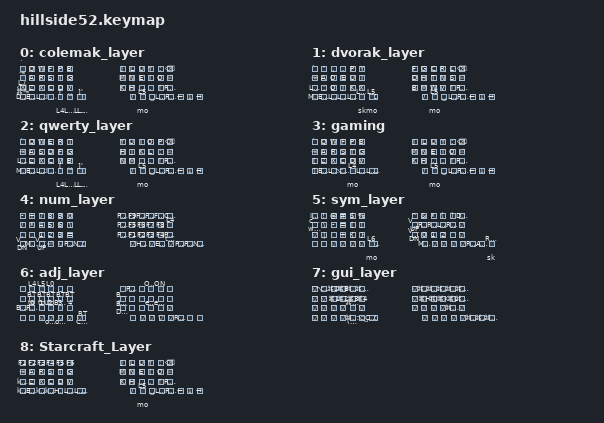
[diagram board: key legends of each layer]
/*
 * Copyright (c) 2021-2022 The ZMK Contributors
 *
 * SPDX-License-Identifier: MIT
 */

#include "../zmk-nodefree-config/helper.h"

// #include "../zmk-nodefree-config/international_chars/nordic.dtsi"

#include <behaviors.dtsi>
#include <dt-bindings/zmk/bt.h>
#include <dt-bindings/zmk/ext_power.h>
#include <dt-bindings/zmk/keys.h>
#include <dt-bindings/zmk/outputs.h>

#define COLEMK_L 0
#define QWERTY_L 1
#define DVORAK_L 2
#define NAV_L    3
#define SYM_L    4
#define ADJ_L    5
#define Undo   LC(Z)
#define Cut    LC(X)
#define Copy   LC(C)
#define Paste  LC(V)
#define Redo   LC(Y)

ZMK_UNICODE_PAIR(no_aa,   N0, N0, E,  N1,   N0, N0, C,  N1)
ZMK_UNICODE_PAIR(no_ea,   N0, N0, E,  N9,   N0, N0, C,  N9)
ZMK_UNICODE_PAIR(no_ia,   N0, N0, E,  D,    N0, N0, C,  D)
ZMK_UNICODE_PAIR(no_oa,   N0, N0, F,  N3,   N0, N0, D,  N3)
ZMK_UNICODE_PAIR(no_ua,   N0, N0, F,  A,    N0, N0, D,  A)
ZMK_UNICODE_PAIR(no_ya,   N0, N0, F,  D,    N0, N0, D,  D)
ZMK_UNICODE_PAIR(no_ae,   N0, N0, E,  N6,   N0, N0, C,  N6)
ZMK_UNICODE_PAIR(no_od,   N0, N0, F,  N6,   N0, N0, D,  N6)
ZMK_UNICODE_PAIR(no_ad,   N0, N0, E,  N4,   N0, N0, C,  N4)
ZMK_UNICODE_PAIR(no_thorn,  N0, N0, F,  E,  N0, N0, D,  E)
ZMK_UNICODE_PAIR(no_eth,  N0, N0, F,  N0,   N0, N0, D,  N0)
ZMK_UNICODE_PAIR(no_ao,   N0, N0, E,  N5,   N0, N0, C,  N5)

&mt {
    flavor = "hold-preferred";
    tapping-term-ms = <150>;
    require-prior-idle-ms = <125>;
};

/ {
    behaviors {
        hold_while_undecided: hold_while_undecided {
            compatible = "zmk,behavior-hold-tap";
            label = "HOLD_WHILE_UNDECIDED";
            bindings = <&kp>, <&kp>;

            #binding-cells = <2>;
            tapping-term-ms = <200>;
            require-prior-idle-ms = <125>;
            hold-while-undecided;
        };

        lt_chars: lt_chars {
            compatible = "zmk,behavior-hold-tap";
            label = "LT_CHARS";
            bindings = <&to>, <&kp>;

            #binding-cells = <2>;
            flavor = "tap-preferred";
            tapping-term-ms = <150>;
            require-prior-idle-ms = <150>;
            hold-trigger-key-positions = <0>;
        };
    };

    combos {
        compatible = "zmk,combos";

        ModplusLayer {
            bindings = <&mo 6>;
            key-positions = <44 45>;
        };

        thorn {
            bindings = <&no_thorn>;
            key-positions = <33 28>;
            require-prior-idle-ms = <200>;
        };

        eth {
            bindings = <&no_eth>;
            key-positions = <25 33>;
            require-prior-idle-ms = <200>;
        };

        aa {
            bindings = <&no_aa>;
            key-positions = <13 10>;
            require-prior-idle-ms = <200>;
        };

        ea {
            bindings = <&no_ea>;
            key-positions = <20 10>;
            require-prior-idle-ms = <200>;
        };

        ia {
            bindings = <&no_ia>;
            key-positions = <21 10>;
            require-prior-idle-ms = <200>;
        };

        oa {
            bindings = <&no_oa>;
            key-positions = <22 10>;
            require-prior-idle-ms = <200>;
        };

        ua {
            bindings = <&no_ua>;
            key-positions = <8 10>;
            require-prior-idle-ms = <200>;
        };

        ya {
            bindings = <&no_ya>;
            key-positions = <9 10>;
            require-prior-idle-ms = <200>;
        };

        ae {
            bindings = <&no_ae>;
            key-positions = <13 10>;
            require-prior-idle-ms = <200>;
        };

        od {
            bindings = <&no_od>;
            key-positions = <22 35>;
            require-prior-idle-ms = <200>;
        };

        ad {
            bindings = <&no_ad>;
            key-positions = <13 35>;
            require-prior-idle-ms = <200>;
        };

        ao {
            bindings = <&no_ao>;
            key-positions = <13 22>;
            require-prior-idle-ms = <200>;
        };

        to_gaming {
            bindings = <&to 3>;
            key-positions = <1 2 3 4>;
        };

        to_starcraft {
            bindings = <&to 8>;
            key-positions = <25 26 27 28>;
        };

        to_colemak {
            bindings = <&to 0>;
            key-positions = <13 14 15 16>;
        };

        power_toys_layout_1 {
            bindings = <&kp LG(LA(LC(N1)))>;
            key-positions = <40 41 19>;
        };

        power_toys_layout_2 {
            bindings = <&kp LA(LC(LG(N2)))>;
            key-positions = <40 41 20>;
        };

        power_toys_layout_3 {
            bindings = <&kp LA(LC(LG(N3)))>;
            key-positions = <40 41 21>;
        };

        power_toys_layout_4 {
            bindings = <&kp LA(LC(LG(N4)))>;
            key-positions = <40 41 22>;
        };
    };

    keymap {
        compatible = "zmk,keymap";

        colemak_layer {
            /* COLEMAK-DH
 * -------------------------------------------------------------------------------------------------------------------------------------
 * | `     |   Q   |   W   |   F   |   P   |   B   |-----------------------------------|   J   |   L   |   U   |   Y   |   ;   | BKSPC |
 * | TAB   |   A   |   R   |   S   |   T   |   G   |-----------------------------------|   M   |   N   |   E   |   I   |   O   | ENTER |
 * | SHIFT |   Z   |   X   |   C   |   D   |   V   |   '   |-------------------|   /   |   K   |   H   |   ,   |   .   |  Up   | SHIFT |
 * | Mute  |  ESC  | CTRL  |-------|  GUI  |  ALT  |SK SHFT|  Nav  |---|  Sym  | SPACE |  ALT  |  GUI  |-------| Left  | Down  | Right |
 */

            bindings = <
&lt 7 GRAVE      &kp Q       &kp W         &kp F  &kp P              &kp B                                                                                                                    &kp J     &kp L     &kp U      &kp Y       &kp SEMI  &kp BSPC
&mt LG(TAB) TAB  &kp A       &kp R         &kp S  &kp T              &kp G                                                                                                                    &kp M     &kp N     &kp E      &kp I       &kp O     &kp ENTER
&kp BACKSPACE    &kp Z       &kp X         &kp C  &kp D              &kp V               &mt LEFT_ALT APOSTROPHE                                                                   &kp SLASH  &kp K     &kp H     &kp COMMA  &kp PERIOD  &kp UP    &kp RSHFT
&kp DELETE       &kp ESCAPE  &kp LEFT_WIN         &kp LS(LA(LCTRL))  &lt 4 LEFT_BRACKET  &hold_while_undecided LEFT_SHIFT SPACE  &hold_while_undecided LCTRL RIGHT_BRACKET  &mo 5  &kp SPACE  &kp LALT  &kp RGUI             &kp LEFT    &kp DOWN  &kp RIGHT
            >;

            //            sensor-bindings = <&inc_dec_kp C_VOL_UP C_VOL_DN &inc_dec_kp PG_UP PG_DN>;
        };

        dvorak_layer {
            /* DVORAK
 * -------------------------------------------------------------------------------------------------------------------------------------
 * | `     |   '   |   ,   |   .   |   P   |   Y   |-----------------------------------|   F   |   G   |   C   |   R   |   L   | BKSPC |
 * | TAB   |   A   |   O   |   E   |   U   |   I   |-----------------------------------|   D   |   H   |   T   |   N   |   S   | ENTER |
 * | SHIFT |   ;   |   Q   |   J   |   K   |   X   |   Z   |-------------------|   /   |   B   |   M   |   W   |   V   |  Up   | SHIFT |
 * | Mute  |  ESC  | CTRL  |-------|  GUI  |  ALT  |SK SHFT|  Nav  |---|  Sym  | SPACE |  ALT  |  GUI  |-------| Left  | Down  | Right |
 */

            bindings = <
&kp GRAVE   &kp SQT   &kp COMMA  &kp DOT  &kp P     &kp Y                                          &kp F     &kp G     &kp C  &kp R     &kp L     &kp BSPC
&kp TAB     &kp A     &kp O      &kp E    &kp U     &kp I                                          &kp D     &kp H     &kp T  &kp N     &kp S     &kp ENTER
&kp LSHFT   &kp SEMI  &kp Q      &kp J    &kp K     &kp X     &kp Z                     &kp SLASH  &kp B     &kp M     &kp W  &kp V     &kp UP    &kp RSHFT
&kp C_MUTE  &kp ESC   &kp LCTRL           &kp LGUI  &kp LALT  &sk LSHIFT  &mo 5  &mo 5  &kp SPACE  &kp LALT  &kp RGUI         &kp LEFT  &kp DOWN  &kp RIGHT
            >;

            //            sensor-bindings = <&inc_dec_kp C_VOL_UP C_VOL_DN &inc_dec_kp PG_UP PG_DN>;
        };

        qwerty_layer {
            /* QWERTY
 * -------------------------------------------------------------------------------------------------------------------------------------
 * | `     |   Q   |   W   |   E   |   R   |   T   |-----------------------------------|   Y   |   U   |   I   |   O   |   P   | BKSPC |
 * | TAB   |   A   |   S   |   D   |   F   |   G   |-----------------------------------|   H   |   J   |   K   |   L   |   ;   | ENTER |
 * | SHIFT |   Z   |   X   |   C   |   V   |   B   |   '   |-------------------|   /   |   N   |   M   |   ,   |   .   |  Up   | SHIFT |
 * | Mute  |  ESC  | CTRL  |-------|  GUI  |  ALT  |SK SHFT|  Nav  |---|  Sym  | SPACE |  ALT  |  GUI  |-------| Left  | Down  | Right |
 */

            bindings = <
&kp GRAVE   &kp Q    &kp W         &kp E  &kp R              &kp T                                                                                                                &kp Y     &kp U     &kp I      &kp O     &kp P     &kp BSPC
&kp TAB     &kp A    &kp S         &kp D  &kp F              &kp G                                                                                                                &kp H     &kp J     &kp K      &kp L     &kp SEMI  &kp ENTER
&kp LSHFT   &kp Z    &kp X         &kp C  &kp V              &kp B               &mt LEFT_ALT SQT                                                                      &kp SLASH  &kp N     &kp M     &kp COMMA  &kp DOT   &kp UP    &kp RSHFT
&kp C_MUTE  &kp ESC  &kp LEFT_GUI         &kp LS(LA(LCTRL))  &lt 4 LEFT_BRACKET  &hold_while_undecided LSHIFT SPACE  &hold_while_undecided LCTRL RIGHT_BRACKET  &mo 5  &kp SPACE  &kp LALT  &kp RGUI             &kp LEFT  &kp DOWN  &kp RIGHT
            >;

            //            sensor-bindings = <&inc_dec_kp C_VOL_UP C_VOL_DN &inc_dec_kp PG_UP PG_DN>;
        };

        gaming {
            bindings = <
&kp GRAVE          &kp Q       &kp W         &kp F  &kp P                   &kp B                                               &kp J     &kp L     &kp U      &kp Y       &kp SEMI  &kp BSPC
&kp TAB            &kp A       &kp R         &kp S  &kp T                   &kp G                                               &kp M     &kp N     &kp E      &kp I       &kp O     &kp ENTER
&kp LEFT_BRACKET   &kp Z       &kp X         &kp C  &kp D                   &kp V  &kp LEFT_ALT                      &kp SLASH  &kp K     &kp H     &kp COMMA  &kp PERIOD  &kp UP    &kp RSHFT
&kp RIGHT_BRACKET  &kp ESCAPE  &kp LEFT_GUI         &kp LA(LC(LEFT_SHIFT))  &mo 4  &kp LEFT_SHIFT  &kp LCTRL  &mo 5  &kp SPACE  &kp LALT  &kp RGUI             &kp LEFT    &kp DOWN  &kp RIGHT
            >;
        };

        num_layer {
            /* NAV
 * -------------------------------------------------------------------------------------------------------------------------------------
 * | Copy  |   1   |   2   |   3   |   4   |   5   |-----------------------------------|   6   |   7   |   8   |   9   |   0   | BSPC  |
 * | Cut   |  GUI  |  Alt  | Ctrl  | Shift | Paste |-----------------------------------| PG UP |  Left |  Up   |  Down | Right | PG DN |
 * | Shift |  F1   |  F2   |  F3   |  F4   |  F5   |  UnDo |-------------------| ReDo  |  F6   |  F7   |  F8   |  F9   |  F10  | Shift |
 * | F11   |  F12  |       |-------|       |       |       |       |---| ADJ_L |       |       |       |-------| CTRL  | HOME  |  END  |
 */

            bindings = <
&kp MINUS     &kp PLUS      &kp N7        &kp N8  &kp N9     &kp N0                                                       &kp PG_UP  &kp F9  &kp F10  &kp F11     &kp F12           &kp K_CALC
&kp SLASH     &kp ASTERISK  &kp N4        &kp N5  &kp N6     &kp BACKSLASH                                                &kp PG_UP  &kp F5  &kp F6   &kp F7      &kp F8            &tog 4
&kp COMMA     &kp PERIOD    &kp N1        &kp N2  &kp N3     &kp EQUAL      &kp CARET                             &trans  &kp PG_DN  &kp F1  &kp F2   &kp F3      &kp F4            &kp PG_DN
&kp C_VOL_DN  &kp K_MUTE    &kp C_VOL_UP          &kp ENTER  &trans         &kp C_PREVIOUS  &kp C_NEXT  &kp HOME  &trans  &kp END    &trans           &kp C_PREV  &kp C_PLAY_PAUSE  &kp C_NEXT
            >;

            //            sensor-bindings = <&inc_dec_kp PG_UP PG_DN &inc_dec_kp C_VOL_UP C_VOL_DN>;
        };

        sym_layer {
            /* SYM
 * -------------------------------------------------------------------------------------------------------------------------------------
 * | INS   |   !   |   @   |   #   |   $   |   %   |-----------------------------------|   ^   |   &   |   *   |   (   |   )   | DELETE|
 * | CAPS  |   \   |   -   |   =   |   [   |   ]   |-----------------------------------| Vol+  | Shift | Ctrl  | Alt   | Gui   | ENTER |
 * | Shift |   |   |   _   |   +   |   {   |   }   | Play  |-------------------| Mute  | Vol-  |  N0   |  N1   |  N2   |       | SHIFT |
 * |       |       |       |-------|       |       |       |  ADJ_L |---|      |       |       |       |-------| CTRL  | MENU  |SkAltGr|
 */

            bindings = <
&kp INS     &kp EXCL  &kp AT     &kp HASH   &kp DOLLAR  &kp PERCENT                                       &kp CARET     &kp AMPS   &kp ASTRK  &kp LPAR   &kp RPAR   &kp DEL
&caps_word  &kp BSLH  &kp MINUS  &kp EQUAL  &kp LBKT    &kp RBKT                                          &kp C_VOL_UP  &kp RSHFT  &kp RCTRL  &kp LALT   &kp RGUI   &trans
&trans      &kp PIPE  &kp UNDER  &kp PLUS   &kp LBRC    &kp RBRC     &kp C_PP                 &kp C_MUTE  &kp C_VOL_DN  &kp N0     &kp N1     &kp N2     &none      &trans
&none       &none     &trans                &trans      &trans       &trans    &mo 6  &trans  &trans      &trans        &trans                &kp RCTRL  &kp K_APP  &sk RALT
            >;

            //            sensor-bindings = <&inc_dec_kp PG_UP PG_DN &inc_dec_kp C_VOL_UP C_VOL_DN>;
        };

        adj_layer {
            /* ADJUST
 * -------------------------------------------------------------------------------------------------------------------------------------
 * |       | QWERTY| DVORAK| COLEMK|       |       |-----------------------------------|       |Prt Scr|       | EP_OFF| EP_ON |       |
 * |       | BT 0  | BT 1  | BT 2  | BT 3  | BT 4  |-----------------------------------|       |       |       |       |       |       |
 * | BOOTL | RESET |       |OUT_USB|OUT_BLE|       |BT CLR |-------------------|       |       |       |       |       |       | SHIFT |
 * ----------------|       |-------|       |       |       |       |---|       |       |       |       |-------| CTRL  |----------------
 */

            bindings = <
&none        &to 4         &to 5         &to 0         &none         &none                                             &none                 &kp PRINTSCREEN  &none  &ext_power EP_OFF  &ext_power EP_ON  &none
&none        &bt BT_SEL 0  &bt BT_SEL 1  &bt BT_SEL 2  &bt BT_SEL 3  &bt BT_SEL 4                                      &kp C_BRIGHTNESS_INC  &none            &none  &none              &none             &none
&bootloader  &sys_reset    &none         &out OUT_USB  &out OUT_BLE  &none         &bt BT_CLR                  &none   &kp C_BRIGHTNESS_DEC  &none            &none  &none              &none             &trans
&none        &none         &trans                      &trans        &trans        &trans      &trans  &trans  &trans  &trans                &trans                  &kp RCTRL          &none             &none
            >;

            //            sensor-bindings = <&inc_dec_kp C_VOL_UP C_VOL_DN &inc_dec_kp PG_UP PG_DN>;
        };

        gui_layer {
            bindings = <
&trans  &kp LA(F4)  &kp LG(D)   &kp LG(E)   &kp LG(LC(LA(LS(LESS_THAN))))  &kp LG(LC(LA(LS(GREATER_THAN))))                                                        &trans  &kp LG(LC(LA(N1)))  &kp LG(LA(N2))  &kp LG(LC(LA(N3)))      &kp LG(LC(LA(N4)))      &kp LG(LC(LS(LA(LEFT))))
&trans  &trans      &kp LG(N1)  &kp LG(N2)  &kp LG(N3)                     &kp LG(N4)                                                                              &trans  &kp LG(H)           &kp LG(J)       &kp LG(K)               &kp LG(L)               &kp LG(LC(LS(RIGHT)))
&trans  &trans      &trans      &trans      &mt (LC(F4)) LG(LC(D))         &trans                            &kp DOUBLE_QUOTES                             &trans  &trans  &trans              &trans          &trans                  &kp LG(LS(LA(LC(N8))))  &trans
&trans  &trans      &trans                  &trans                         &kp LG(LC(LEFT))                  &kp LA(SPACE)      &kp LC(LG(RIGHT))  &trans  &trans  &trans  &trans                              &kp LG(LA(LS(LC(N4))))  &kp LG(LS(LC(LA(N2))))  &kp LG(LA(LS(LC(N6))))
            >;
        };

        Starcraft_Layer {
            bindings = <
&kp F1           &kp F2      &kp F3     &kp F4  &kp F5     &kp F6                                                 &kp J     &kp L     &kp U      &kp Y       &kp SEMI  &kp BSPC
&kp TAB          &kp A       &kp R      &kp S   &kp T      &kp G                                                  &kp M     &kp N     &kp E      &kp I       &kp O     &kp ENTER
&kp KP_NUMBER_2  &kp Z       &kp X      &kp C   &kp D      &kp V     &kp LEFT_ALT                      &kp SLASH  &kp K     &kp H     &kp COMMA  &kp PERIOD  &kp UP    &kp RSHFT
&kp KP_N1        &kp ESCAPE  &kp KP_N3          &kp KP_N4  &kp HOME  &kp LEFT_SHIFT  &kp LCTRL  &mo 5  &kp SPACE  &kp LALT  &kp RGUI             &kp LEFT    &kp DOWN  &kp RIGHT
            >;
        };
    };
};
